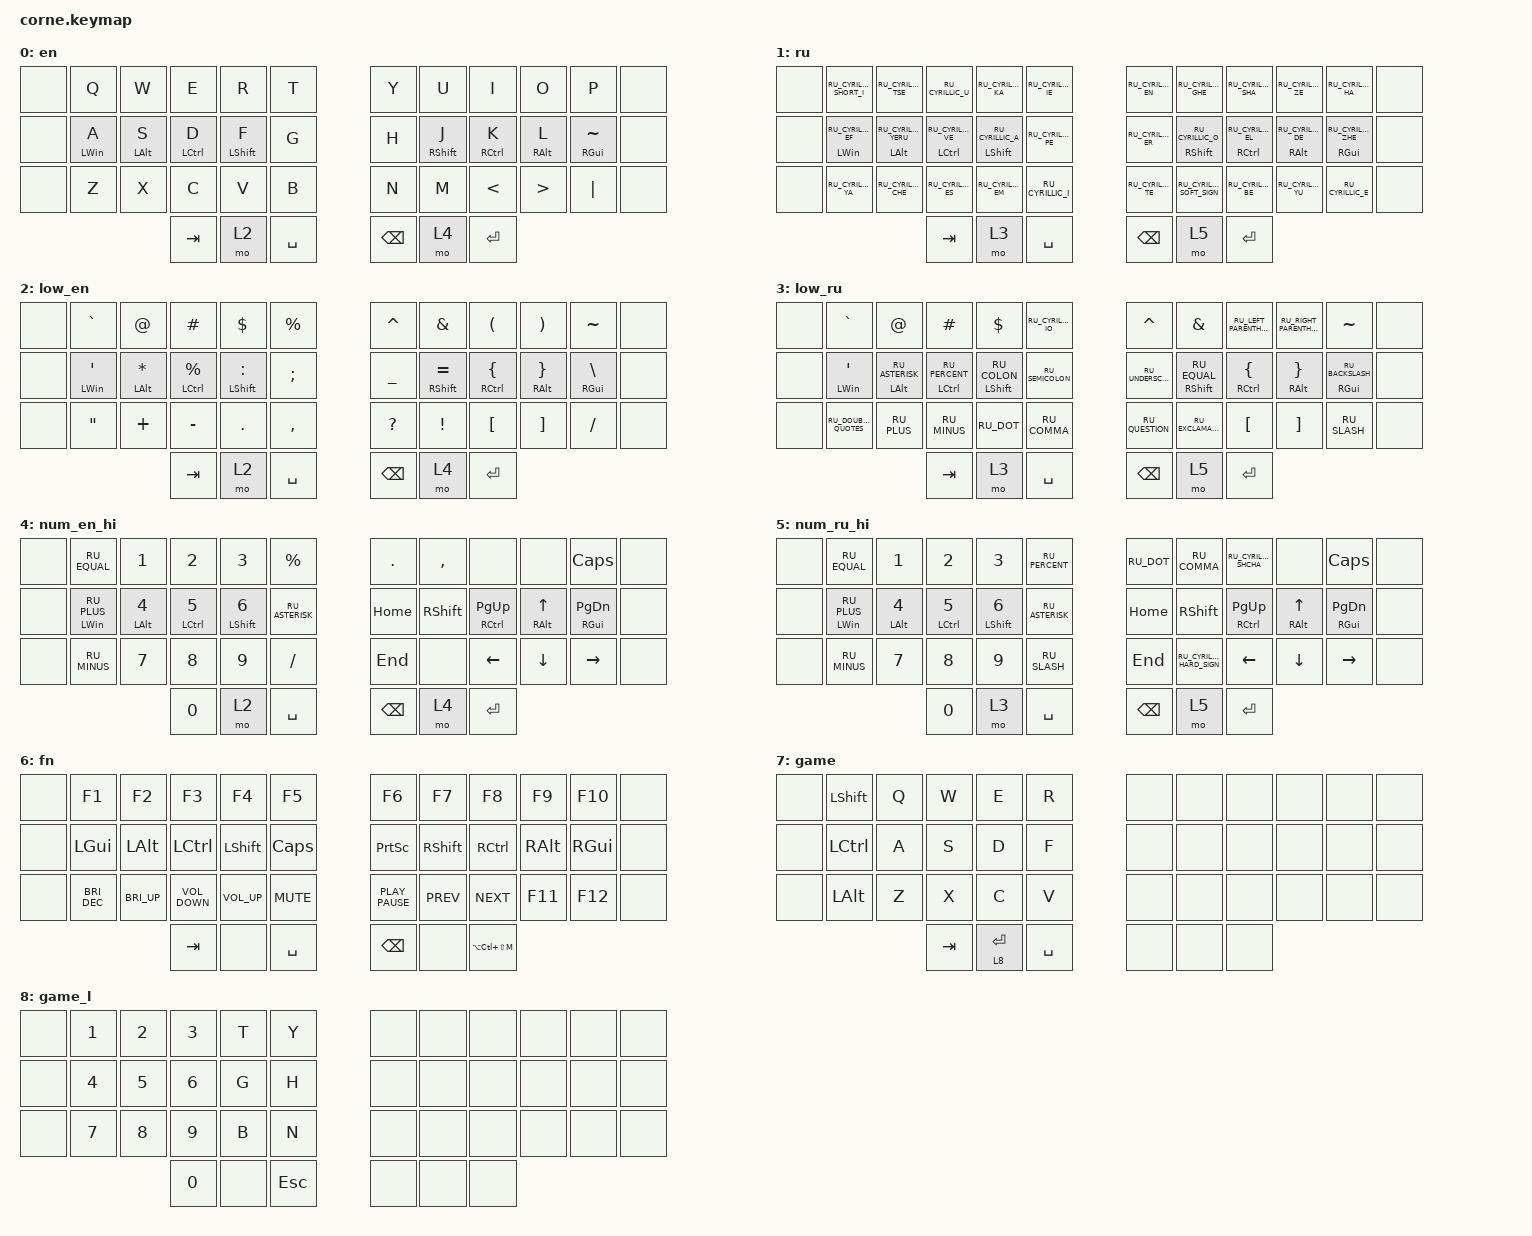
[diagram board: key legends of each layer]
#include "behaviors.dtsi"
#include "keys_ru.h"
#include <behaviors.dtsi>
#include <dt-bindings/zmk/bt.h>
#include <dt-bindings/zmk/keys.h>

/ {
    behaviors {
        hml: homerow_mods_left {
            compatible = "zmk,behavior-hold-tap";
            label = "HOMEROW_MODS_LEFT_HAND";
            #binding-cells = <2>;
            flavor = "balanced";
            tapping-term-ms = <280>;
            quick-tap-ms = <125>;
            bindings = <&kp>, <&kp>;

            hold-trigger-key-positions = <6 30 18 7 8 9 10 19 20 21 22 31 32 33 34 40 41 39>;
        };

        hmr: homerow_mods_right {
            compatible = "zmk,behavior-hold-tap";
            label = "HOMEROW_MODS_RIGHT_HAND";
            #binding-cells = <2>;
            flavor = "balanced";
            tapping-term-ms = <280>;
            quick-tap-ms = <125>;
            bindings = <&kp>, <&kp>;

            hold-trigger-key-positions = <1 2 3 4 5 13 14 15 16 17 25 26 27 28 29 36 37 38>;
        };
    };

    macros {
        lm: lm {
            compatible = "zmk,behavior-macro-two-param";
            wait-ms = <0>;
            tap-ms = <0>;
            #binding-cells = <2>;
            bindings =
                <&macro_param_1to1>,
                <&macro_press>,
                <&to MACRO_PLACEHOLDER &macro_param_2to1>,
                <&macro_press>,
                <&kp MACRO_PLACEHOLDER>,
                <&macro_pause_for_release>,
                <&macro_param_2to1>,
                <&macro_release>,
                <&kp MACRO_PLACEHOLDER &macro_param_1to1>,
                <&macro_release>,
                <&to MACRO_PLACEHOLDER>;
        };
    };

    combos {
        compatible = "zmk,combos";

        escape {
            bindings = <&kp ESCAPE>;
            key-positions = <1 2>;
            layers = <0 1>;
        };

        ru_layer_switch {
            bindings = <&lm 1 LG(LC(NUMBER_2))>;
            key-positions = <39 40>;
        };

        en_layer_switch {
            bindings = <&lm 0 LC(LG(NUMBER_1))>;
            key-positions = <37 38>;
        };

        fn_layer_switch {
            bindings = <&mo 6>;
            key-positions = <37 40>;
            timeout-ms = <200>;
            layers = <6>;
        };

        switch_to_fn_layer {
            bindings = <&to 6>;
            key-positions = <40 7 8 6 9>;
            timeout-ms = <100>;
        };

        switch_to_game_layer {
            bindings = <&to 7>;
            key-positions = <37 5 4 3 2>;
            timeout-ms = <100>;
        };

        bt1 {
            bindings = <&bt BT_SEL 0>;
            key-positions = <1 37 2 3>;
            timeout-ms = <200>;
        };

        bt2 {
            bindings = <&bt BT_SEL 1>;
            key-positions = <37 13 14 15>;
            timeout-ms = <200>;
        };

        bt3 {
            bindings = <&bt BT_SEL 2>;
            key-positions = <37 25 26 27>;
            timeout-ms = <200>;
        };

        bt-clear {
            bindings = <&bt BT_CLR>;
            key-positions = <37 29 17 5>;
            timeout-ms = <200>;
        };

        bt-clear-all {
            bindings = <&bt BT_CLR_ALL>;
            key-positions = <37 4 28 16>;
        };

        del {
            bindings = <&kp DELETE>;
            key-positions = <10 9>;
            layers = <0 1>;
        };
    };

    keymap {
        compatible = "zmk,keymap";

        en {
            display-name = "en";
            bindings = <
&none  &kp Q            &kp W            &kp E                &kp R              &kp T        &kp Y          &kp U               &kp I                 &kp O             &kp P                 &none
&none  &hml LEFT_WIN A  &hml LEFT_ALT S  &hml LEFT_CONTROL D  &hml LEFT_SHIFT F  &kp G        &kp H          &hmr RIGHT_SHIFT J  &hmr RIGHT_CONTROL K  &hmr RIGHT_ALT L  &hmr RIGHT_GUI TILDE  &none
&none  &kp Z            &kp X            &kp C                &kp V              &kp B        &kp N          &kp M               &kp LESS_THAN         &kp GREATER_THAN  &kp PIPE              &none
                                         &kp TAB              &mo 2              &kp SPACE    &kp BACKSPACE  &mo 4               &kp ENTER
            >;
        };

        ru {
            display-name = "ru";
            bindings = <
&none  &kp RU_CYRILLIC_SHORT_I       &kp RU_CYRILLIC_TSE             &kp RU_CYRILLIC_U                 &kp RU_CYRILLIC_KA             &kp RU_CYRILLIC_IE    &kp RU_CYRILLIC_EN  &kp RU_CYRILLIC_GHE             &kp RU_CYRILLIC_SHA                &kp RU_CYRILLIC_ZE             &kp RU_CYRILLIC_HA              &none
&none  &hml LEFT_WIN RU_CYRILLIC_EF  &hml LEFT_ALT RU_CYRILLIC_YERU  &hml LEFT_CONTROL RU_CYRILLIC_VE  &hml LEFT_SHIFT RU_CYRILLIC_A  &kp RU_CYRILLIC_PE    &kp RU_CYRILLIC_ER  &hmr RIGHT_SHIFT RU_CYRILLIC_O  &hmr RIGHT_CONTROL RU_CYRILLIC_EL  &hmr RIGHT_ALT RU_CYRILLIC_DE  &hmr RIGHT_GUI RU_CYRILLIC_ZHE  &none
&none  &kp RU_CYRILLIC_YA            &kp RU_CYRILLIC_CHE             &kp RU_CYRILLIC_ES                &kp RU_CYRILLIC_EM             &kp RU_CYRILLIC_I     &kp RU_CYRILLIC_TE  &kp RU_CYRILLIC_SOFT_SIGN       &kp RU_CYRILLIC_BE                 &kp RU_CYRILLIC_YU             &kp RU_CYRILLIC_E               &none
                                                                     &kp TAB                           &mo 3                          &kp SPACE             &kp BACKSPACE       &mo 5                           &kp ENTER
            >;
        };

        sym_en_low {
            display-name = "low_en";
            bindings = <
&none  &kp GRAVE                   &kp AT                  &kp HASH                   &kp DOLLAR             &kp PERCENT      &kp CARET       &kp AMPERSAND           &kp LEFT_PARENTHESIS           &kp RIGHT_PARENTHESIS       &kp TILDE                 &none
&none  &hml LEFT_WIN SINGLE_QUOTE  &hml LEFT_ALT ASTERISK  &hml LEFT_CONTROL PERCENT  &hml LEFT_SHIFT COLON  &kp SEMICOLON    &kp UNDERSCORE  &hmr RIGHT_SHIFT EQUAL  &hmr RIGHT_CONTROL LEFT_BRACE  &hmr RIGHT_ALT RIGHT_BRACE  &hmr RIGHT_GUI BACKSLASH  &none
&none  &kp DOUBLE_QUOTES           &kp PLUS                &kp MINUS                  &kp DOT                &kp COMMA        &kp QUESTION    &kp EXCLAMATION         &kp LEFT_BRACKET               &kp RIGHT_BRACKET           &kp SLASH                 &none
                                                           &kp TAB                    &mo 2                  &kp SPACE        &kp BACKSPACE   &mo 4                   &kp ENTER
            >;

            label = "sym_en_low";
        };

        sym_ru_low {
            display-name = "low_ru";
            bindings = <
&none  &kp GRAVE                   &kp AT                     &kp HASH                      &kp DOLLAR                &kp RU_CYRILLIC_IO    &kp CARET          &kp AMPERSAND              &kp RU_LEFT_PARENTHESIS        &kp RU_RIGHT_PARENTHESIS    &kp TILDE                    &none
&none  &hml LEFT_WIN SINGLE_QUOTE  &hml LEFT_ALT RU_ASTERISK  &hml LEFT_CONTROL RU_PERCENT  &hml LEFT_SHIFT RU_COLON  &kp RU_SEMICOLON      &kp RU_UNDERSCORE  &hmr RIGHT_SHIFT RU_EQUAL  &hmr RIGHT_CONTROL LEFT_BRACE  &hmr RIGHT_ALT RIGHT_BRACE  &hmr RIGHT_GUI RU_BACKSLASH  &none
&none  &kp RU_DOUBLE_QUOTES        &kp RU_PLUS                &kp RU_MINUS                  &kp RU_DOT                &kp RU_COMMA          &kp RU_QUESTION    &kp RU_EXCLAMATION         &kp LEFT_BRACKET               &kp RIGHT_BRACKET           &kp RU_SLASH                 &none
                                                              &kp TAB                       &mo 3                     &kp SPACE             &kp BACKSPACE      &mo 5                      &kp ENTER
            >;

            label = "sym_ru_low";
        };

        num_en_hi {
            label = "num_en_hi";
            display-name = "num_en_hi";
            bindings = <
&none  &kp RU_EQUAL           &kp NUMBER_1            &kp NUMBER_2                &kp NUMBER_3              &kp PERCENT        &kp DOT        &kp COMMA        &none                       &none              &kp CAPSLOCK              &none
&none  &hml LEFT_WIN RU_PLUS  &hml LEFT_ALT NUMBER_4  &hml LEFT_CONTROL NUMBER_5  &hml LEFT_SHIFT NUMBER_6  &kp RU_ASTERISK    &kp HOME       &kp RIGHT_SHIFT  &hmr RIGHT_CONTROL PAGE_UP  &hmr RIGHT_ALT UP  &hmr RIGHT_GUI PAGE_DOWN  &none
&none  &kp RU_MINUS           &kp NUMBER_7            &kp NUMBER_8                &kp NUMBER_9              &kp SLASH          &kp END        &none            &kp LEFT_ARROW              &kp DOWN_ARROW     &kp RIGHT_ARROW           &none
                                                      &kp NUMBER_0                &mo 2                     &kp SPACE          &kp BACKSPACE  &mo 4            &kp ENTER
            >;
        };

        num_ru_hi {
            display-name = "num_ru_hi";
            bindings = <
&none  &kp RU_EQUAL           &kp NUMBER_1            &kp NUMBER_2                &kp NUMBER_3              &kp RU_PERCENT     &kp RU_DOT     &kp RU_COMMA               &kp RU_CYRILLIC_SHCHA       &none              &kp CAPSLOCK              &none
&none  &hml LEFT_WIN RU_PLUS  &hml LEFT_ALT NUMBER_4  &hml LEFT_CONTROL NUMBER_5  &hml LEFT_SHIFT NUMBER_6  &kp RU_ASTERISK    &kp HOME       &kp RIGHT_SHIFT            &hmr RIGHT_CONTROL PAGE_UP  &hmr RIGHT_ALT UP  &hmr RIGHT_GUI PAGE_DOWN  &none
&none  &kp RU_MINUS           &kp NUMBER_7            &kp NUMBER_8                &kp NUMBER_9              &kp RU_SLASH       &kp END        &kp RU_CYRILLIC_HARD_SIGN  &kp LEFT_ARROW              &kp DOWN_ARROW     &kp RIGHT_ARROW           &none
                                                      &kp NUMBER_0                &mo 3                     &kp SPACE          &kp BACKSPACE  &mo 5                      &kp ENTER
            >;

            label = "num_ru_hi";
        };

        fn {
            bindings = <
&none  &kp F1                &kp F2        &kp F3             &kp F4           &kp F5          &kp F6            &kp F7           &kp F8             &kp F9         &kp F10        &none
&none  &kp LEFT_GUI          &kp LEFT_ALT  &kp LEFT_CONTROL   &kp LEFT_SHIFT   &kp CAPSLOCK    &kp PRINTSCREEN   &kp RIGHT_SHIFT  &kp RIGHT_CONTROL  &kp RIGHT_ALT  &kp RIGHT_GUI  &none
&none  &kp C_BRIGHTNESS_DEC  &kp C_BRI_UP  &kp C_VOLUME_DOWN  &kp C_VOLUME_UP  &kp C_MUTE      &kp K_PLAY_PAUSE  &kp K_PREV       &kp K_NEXT         &kp F11        &kp F12        &none
                                           &kp TAB            &none            &kp SPACE       &kp BACKSPACE     &none            &kp LA(LC(LS(M)))
            >;

            label = "fn";
        };

        game {
            label = "game";
            bindings = <
&none  &kp LSHFT  &kp Q  &kp W    &kp E        &kp R        &none  &none  &none  &none  &none  &none
&none  &kp LCTRL  &kp A  &kp S    &kp D        &kp F        &none  &none  &none  &none  &none  &none
&none  &kp LALT   &kp Z  &kp X    &kp C        &kp V        &none  &none  &none  &none  &none  &none
                         &kp TAB  &lt 8 ENTER  &kp SPACE    &none  &none  &none
            >;
        };

        game_low {
            label = "game_l";
            bindings = <
&none  &kp N1  &kp N2  &kp N3  &kp T  &kp Y      &none  &none  &none  &none  &none  &none
&none  &kp N4  &kp N5  &kp N6  &kp G  &kp H      &none  &none  &none  &none  &none  &none
&none  &kp N7  &kp N8  &kp N9  &kp B  &kp N      &none  &none  &none  &none  &none  &none
                       &kp N0  &none  &kp ESC    &none  &none  &none
            >;
        };
    };

    conditional_layers {
        compatible = "zmk,conditional-layers";

        fn_ru {
            if-layers = <3 5>;
            then-layer = <6>;
        };

        fn_en {
            if-layers = <2 4>;
            then-layer = <6>;
        };
    };
};
